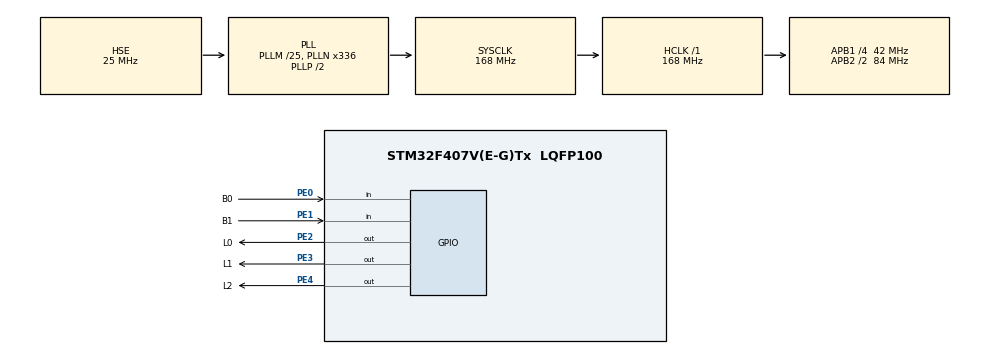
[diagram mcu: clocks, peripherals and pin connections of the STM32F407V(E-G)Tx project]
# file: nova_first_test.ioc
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Mcu.Family=STM32F4
Mcu.Name=STM32F407V(E-G)Tx
Mcu.Package=LQFP100
NVIC.PriorityGroup=NVIC_PRIORITYGROUP_4
PA13.Mode=Trace_Asynchronous_SW
PA13.Signal=SYS_JTMS-SWDIO
PA14.Mode=Trace_Asynchronous_SW
PA14.Signal=SYS_JTCK-SWCLK
PB3.Mode=Trace_Asynchronous_SW
PB3.Signal=SYS_JTDO-SWO
PE0.GPIO_Label=B0
PE0.Signal=GPIO_Input
PE1.GPIO_Label=B1
PE1.Signal=GPIO_Input
PE2.GPIO_Label=L0
PE2.Signal=GPIO_Output
PE3.GPIO_Label=L1
PE3.Signal=GPIO_Output
PE4.GPIO_Label=L2
PE4.Signal=GPIO_Output
PH0-OSC_IN.Mode=HSE-External-Oscillator
PH0-OSC_IN.Signal=RCC_OSC_IN
PH1-OSC_OUT.Mode=HSE-External-Oscillator
PH1-OSC_OUT.Signal=RCC_OSC_OUT
ProjectManager.HeapSize=0x200
ProjectManager.StackSize=0x400
ProjectManager.TargetToolchain=STM32CubeIDE
RCC.48MHZClocksFreq_Value=84000000
RCC.AHBFreq_Value=168000000
RCC.APB1CLKDivider=RCC_HCLK_DIV4
RCC.APB1Freq_Value=42000000
RCC.APB1TimFreq_Value=84000000
RCC.APB2CLKDivider=RCC_HCLK_DIV2
RCC.APB2Freq_Value=84000000
RCC.APB2TimFreq_Value=168000000
RCC.CortexFreq_Value=168000000
RCC.HCLKFreq_Value=168000000
RCC.HSE_VALUE=25000000
RCC.HSI_VALUE=16000000
RCC.LSE_VALUE=32768
RCC.PLLM=25
RCC.PLLN=336
RCC.PLLSourceVirtual=RCC_PLLSOURCE_HSE
RCC.SYSCLKFreq_VALUE=168000000
RCC.SYSCLKSource=RCC_SYSCLKSOURCE_PLLCLK
RCC.VCOOutputFreq_Value=336000000
board=custom

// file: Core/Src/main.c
/* USER CODE BEGIN Header */
/**
  ******************************************************************************
  * @file           : main.c
  * @brief          : Main program body
  ******************************************************************************
  * @attention
  *
  * Copyright (c) 2025 STMicroelectronics.
  * All rights reserved.
  *
  * This software is licensed under terms that can be found in the LICENSE file
  * in the root directory of this software component.
  * If no LICENSE file comes with this software, it is provided AS-IS.
  *
  ******************************************************************************
  */
/* USER CODE END Header */
#include "main.h"

void SystemClock_Config(void);
static void MX_GPIO_Init(void);

int main(void)
{

  /* MCU Configuration--------------------------------------------------------*/

  /* Reset of all peripherals, Initializes the Flash interface and the Systick. */
  HAL_Init();

  /* Configure the system clock */
  SystemClock_Config();

  /* Initialize all configured peripherals */
  MX_GPIO_Init();

  /* Infinite loop */
  /* USER CODE BEGIN WHILE */
  while (1)
  {
#define D1 50
#define D2 30

	  if(HAL_GPIO_ReadPin(B0_GPIO_Port, B0_Pin) == 1){
		  HAL_GPIO_WritePin(L0_GPIO_Port, L0_Pin, 0);
		  HAL_GPIO_WritePin(L1_GPIO_Port, L1_Pin, 0);
		  HAL_GPIO_WritePin(L2_GPIO_Port, L2_Pin, 1);
		  HAL_Delay(D2);
		  HAL_GPIO_WritePin(L0_GPIO_Port, L0_Pin, 0);
		  HAL_GPIO_WritePin(L1_GPIO_Port, L1_Pin, 1);
		  HAL_GPIO_WritePin(L2_GPIO_Port, L2_Pin, 0);
		  HAL_Delay(D2);
		  HAL_GPIO_WritePin(L0_GPIO_Port, L0_Pin, 1);
		  HAL_GPIO_WritePin(L1_GPIO_Port, L1_Pin, 0);
		  HAL_GPIO_WritePin(L2_GPIO_Port, L2_Pin, 0);
		  HAL_Delay(D2);
	  }
	  else if(HAL_GPIO_ReadPin(B1_GPIO_Port, B1_Pin) == 1){
		  HAL_GPIO_WritePin(L0_GPIO_Port, L0_Pin, 1);
		  HAL_GPIO_WritePin(L1_GPIO_Port, L1_Pin, 0);
		  HAL_GPIO_WritePin(L2_GPIO_Port, L2_Pin, 0);
		  HAL_Delay(D2);
		  HAL_GPIO_WritePin(L0_GPIO_Port, L0_Pin, 0);
		  HAL_GPIO_WritePin(L1_GPIO_Port, L1_Pin, 1);
		  HAL_GPIO_WritePin(L2_GPIO_Port, L2_Pin, 0);
		  HAL_Delay(D2);
		  HAL_GPIO_WritePin(L0_GPIO_Port, L0_Pin, 0);
		  HAL_GPIO_WritePin(L1_GPIO_Port, L1_Pin, 0);
		  HAL_GPIO_WritePin(L2_GPIO_Port, L2_Pin, 1);
		  HAL_Delay(D2);

	  }
	  else{
		  HAL_GPIO_WritePin(L0_GPIO_Port, L0_Pin, 1);
		  HAL_Delay(D1);
		  HAL_GPIO_WritePin(L1_GPIO_Port, L1_Pin, 1);
		  HAL_Delay(D1);
		  HAL_GPIO_WritePin(L2_GPIO_Port, L2_Pin, 1);
		  HAL_Delay(D1);
		  HAL_GPIO_WritePin(L0_GPIO_Port, L0_Pin, 0);
		  HAL_Delay(D1);
		  HAL_GPIO_WritePin(L1_GPIO_Port, L1_Pin, 0);
		  HAL_Delay(D1);
		  HAL_GPIO_WritePin(L2_GPIO_Port, L2_Pin, 0);
		  HAL_Delay(D1);
	  }

    /* USER CODE END WHILE */

  }
}

void SystemClock_Config(void)
{
  RCC_OscInitTypeDef RCC_OscInitStruct = {0};
  RCC_ClkInitTypeDef RCC_ClkInitStruct = {0};

  /** Configure the main internal regulator output voltage
  */
  __HAL_RCC_PWR_CLK_ENABLE();
  __HAL_PWR_VOLTAGESCALING_CONFIG(PWR_REGULATOR_VOLTAGE_SCALE1);

  /** Initializes the RCC Oscillators according to the specified parameters
  * in the RCC_OscInitTypeDef structure.
  */
  RCC_OscInitStruct.OscillatorType = RCC_OSCILLATORTYPE_HSE;
  RCC_OscInitStruct.HSEState = RCC_HSE_ON;
  RCC_OscInitStruct.PLL.PLLState = RCC_PLL_ON;
  RCC_OscInitStruct.PLL.PLLSource = RCC_PLLSOURCE_HSE;
  RCC_OscInitStruct.PLL.PLLM = 25;
  RCC_OscInitStruct.PLL.PLLN = 336;
  RCC_OscInitStruct.PLL.PLLP = RCC_PLLP_DIV2;
  RCC_OscInitStruct.PLL.PLLQ = 4;
  if (HAL_RCC_OscConfig(&RCC_OscInitStruct) != HAL_OK)
  {
    Error_Handler();
  }

  /** Initializes the CPU, AHB and APB buses clocks
  */
  RCC_ClkInitStruct.ClockType = RCC_CLOCKTYPE_HCLK|RCC_CLOCKTYPE_SYSCLK
                              |RCC_CLOCKTYPE_PCLK1|RCC_CLOCKTYPE_PCLK2;
  RCC_ClkInitStruct.SYSCLKSource = RCC_SYSCLKSOURCE_PLLCLK;
  RCC_ClkInitStruct.AHBCLKDivider = RCC_SYSCLK_DIV1;
  RCC_ClkInitStruct.APB1CLKDivider = RCC_HCLK_DIV4;
  RCC_ClkInitStruct.APB2CLKDivider = RCC_HCLK_DIV2;

  if (HAL_RCC_ClockConfig(&RCC_ClkInitStruct, FLASH_LATENCY_5) != HAL_OK)
  {
    Error_Handler();
  }
}

static void MX_GPIO_Init(void)
{
  GPIO_InitTypeDef GPIO_InitStruct = {0};

  /* GPIO Ports Clock Enable */
  __HAL_RCC_GPIOE_CLK_ENABLE();
  __HAL_RCC_GPIOH_CLK_ENABLE();
  __HAL_RCC_GPIOA_CLK_ENABLE();
  __HAL_RCC_GPIOB_CLK_ENABLE();

  /*Configure GPIO pin Output Level */
  HAL_GPIO_WritePin(GPIOE, L0_Pin|L1_Pin|L2_Pin, GPIO_PIN_RESET);

  /*Configure GPIO pins : L0_Pin L1_Pin L2_Pin */
  GPIO_InitStruct.Pin = L0_Pin|L1_Pin|L2_Pin;
  GPIO_InitStruct.Mode = GPIO_MODE_OUTPUT_PP;
  GPIO_InitStruct.Pull = GPIO_NOPULL;
  GPIO_InitStruct.Speed = GPIO_SPEED_FREQ_LOW;
  HAL_GPIO_Init(GPIOE, &GPIO_InitStruct);

  /*Configure GPIO pins : B0_Pin B1_Pin */
  GPIO_InitStruct.Pin = B0_Pin|B1_Pin;
  GPIO_InitStruct.Mode = GPIO_MODE_INPUT;
  GPIO_InitStruct.Pull = GPIO_NOPULL;
  HAL_GPIO_Init(GPIOE, &GPIO_InitStruct);

}

void Error_Handler(void)
{
  __disable_irq();
  while (1)
  {
  }
}
